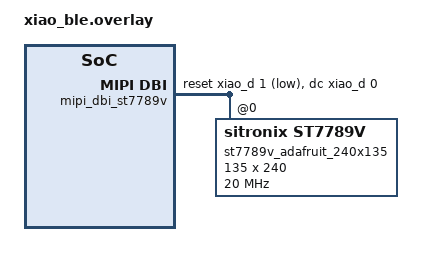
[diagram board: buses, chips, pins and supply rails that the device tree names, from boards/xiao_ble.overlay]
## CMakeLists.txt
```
# SPDX-License-Identifier: Apache-2.0

cmake_minimum_required(VERSION 3.20.0)
find_package(Zephyr REQUIRED HINTS $ENV{ZEPHYR_BASE})
project(display_xiao_st7789v_overlay)

target_sources(app PRIVATE src/main.c)
```

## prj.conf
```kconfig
CONFIG_HEAP_MEM_POOL_SIZE=16384
CONFIG_LOG=y
CONFIG_DISPLAY=y
```

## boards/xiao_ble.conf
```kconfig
# SPDX-License-Identifier: Apache-2.0
CONFIG_BOOT_DELAY=1000
```

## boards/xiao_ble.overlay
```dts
/*
 * SPDX-License-Identifier: Apache-2.0
 */

#include <zephyr/dt-bindings/mipi_dbi/mipi_dbi.h>

/ {    
	chosen {
        zephyr,display = &st7789v_adafruit_240x135;
    };

    mipi_dbi_st7789v {
        compatible = "zephyr,mipi-dbi-spi";
        spi-dev = <&xiao_spi>;
        dc-gpios = <&xiao_d 0 GPIO_ACTIVE_HIGH>;	/* D 0 */
		reset-gpios = <&xiao_d 1 GPIO_ACTIVE_LOW>;	/* D 1 */
		write-only;
		#address-cells = <1>;
		#size-cells = <0>;
 
        st7789v_adafruit_240x135: st7789v@0 {
            compatible = "sitronix,st7789v";
            mipi-max-frequency = <20000000>;
			reg = <0>;
			//inversion-off; //inversion of color
            width = <135>;
			height = <240>;
			x-offset = <52>;
			y-offset = <40>;
            vcom = <0x20>;
			gctrl = <0x35>;
			vrhs = <0x0B>;
			vdvs = <0x20>;
			mdac = <0x00>;
			gamma = <0x00>;
			colmod = <0x55>;
			lcm = <0x2c>;
			porch-param = [0c 0c 00 33 33];
			cmd2en-param = [5A 69 02 00];
			pwctrl1-param = [A4 A1];
			pvgam-param = [D0 00 02 07 0B 1A 31 54 40 29 12 12 12 17];
			nvgam-param = [D0 00 02 07 05 15 2D 44 44 1C 18 16 1C 1D];
			ram-param = [2c 2e];
			rgb-param = [CD 08 14];
			mipi-mode = "MIPI_DBI_MODE_SPI_4WIRE";
        };

    };

};

&xiao_spi {
    cs-gpios = <&xiao_d 2 GPIO_ACTIVE_LOW>; /* D 2 */
};
```

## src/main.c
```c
/*
 * Based on ST7789V sample:
 * Copyright (c) 2019 Marc Reilly
 *
 * SPDX-License-Identifier: Apache-2.0
 */

#include <zephyr/logging/log.h>
LOG_MODULE_REGISTER(sample, LOG_LEVEL_INF);

#include <zephyr/kernel.h>
#include <zephyr/device.h>
#include <zephyr/drivers/display.h>

enum corner {
	TOP_LEFT,
	TOP_RIGHT,
	BOTTOM_RIGHT,
	BOTTOM_LEFT
};

typedef void (*fill_buffer)(enum corner corner, uint8_t grey, uint8_t *buf,
			    size_t buf_size);

static uint16_t get_rgb565_color(enum corner corner, uint8_t grey)
{
	uint16_t color = 0;
	uint16_t grey_5bit;

	switch (corner) {
	case TOP_LEFT:
		color = 0xF800u;
		break;
	case TOP_RIGHT:
		color = 0x07E0u;
		break;
	case BOTTOM_RIGHT:
		color = 0x001Fu;
		break;
	case BOTTOM_LEFT:
		grey_5bit = grey & 0x1Fu;
		/* shift the green an extra bit, it has 6 bits */
		color = grey_5bit << 11 | grey_5bit << (5 + 1) | grey_5bit;
		break;
	}
	return color;
}
static void fill_buffer_rgb565(enum corner corner, uint8_t grey, uint8_t *buf,
			       size_t buf_size)
{
	uint16_t color = get_rgb565_color(corner, grey);

	for (size_t idx = 0; idx < buf_size; idx += 2) {
		*(uint16_t *)(buf + idx) = color;
	}
}

int main(void)
{
	//k_sleep(K_SECONDS(5));
	size_t x;
	size_t y;
	size_t rect_w;
	size_t rect_h;
	size_t h_step;
	size_t scale;
	size_t grey_count;
	uint8_t bg_color;
	uint8_t *buf;
	int32_t grey_scale_sleep;
	const struct device *display_dev;
	struct display_capabilities capabilities;
	struct display_buffer_descriptor buf_desc;
	size_t buf_size = 0;
	fill_buffer fill_buffer_fnc = NULL;

	display_dev = DEVICE_DT_GET(DT_CHOSEN(zephyr_display));
	if (!device_is_ready(display_dev)) {
		LOG_ERR("Device %s not found. Aborting sample.",
			display_dev->name);
		return 0;
	}

	LOG_INF("Display sample for %s", display_dev->name);
	display_get_capabilities(display_dev, &capabilities);
	LOG_INF("Capabilities:\n\tx: %d\ny: %d\npixel: %d", capabilities.x_resolution, capabilities.y_resolution, capabilities.current_pixel_format);
	if (capabilities.screen_info & SCREEN_INFO_MONO_VTILED) {
		rect_w = 16;
		rect_h = 8;
		LOG_ERR("16/8");
	} else {
		rect_w = 2;
		rect_h = 1;
		LOG_ERR("2/1");
	}

	if ((capabilities.x_resolution < 3 * rect_w) ||
	    (capabilities.y_resolution < 3 * rect_h) ||
	    (capabilities.x_resolution < 8 * rect_h)) {
		rect_w = capabilities.x_resolution * 40 / 100;
		rect_h = capabilities.y_resolution * 40 / 100;
		h_step = capabilities.y_resolution * 20 / 100;
		scale = 1;
		LOG_ERR("SCALE: %d", scale);
	} else {
		h_step = rect_h;
		scale = (capabilities.x_resolution / 8) / rect_h;
		LOG_ERR("SCALE: %d", scale);
	}

	rect_w *= scale;
	rect_h *= scale;

	if (capabilities.screen_info & SCREEN_INFO_EPD) {
		grey_scale_sleep = 10000;
	} else {
		grey_scale_sleep = 100;
	}

	if (capabilities.screen_info & SCREEN_INFO_X_ALIGNMENT_WIDTH) {
		rect_w = capabilities.x_resolution;
	}

	buf_size = rect_w * rect_h;

	if (buf_size < (capabilities.x_resolution * h_step)) {
		buf_size = capabilities.x_resolution * h_step;
	}

	bg_color = 0xFFu;
	fill_buffer_fnc = fill_buffer_rgb565;
	buf_size *= 2;
		

	buf = k_malloc(buf_size);

	if (buf == NULL) {
		LOG_ERR("Could not allocate memory. Aborting sample.");
#ifdef CONFIG_ARCH_POSIX
		posix_exit_main(1);
#else
		return 0;
#endif
	}

	(void)memset(buf, bg_color, buf_size);

	buf_desc.buf_size = buf_size;
	buf_desc.pitch = capabilities.x_resolution;
	buf_desc.width = capabilities.x_resolution;
	buf_desc.height = h_step;

	/*
	 * The following writes will only render parts of the image,
	 * so turn this option on.
	 * This allows double-buffered displays to hold the pixels
	 * back until the image is complete.
	 */
	buf_desc.frame_incomplete = true;

	for (int idx = 0; idx < capabilities.y_resolution; idx += h_step) {
		/*
		 * Tweaking the height value not to draw outside of the display.
		 * It is required when using a monochrome display whose vertical
		 * resolution can not be divided by 8.
		 */
		if ((capabilities.y_resolution - idx) < h_step) {
			buf_desc.height = (capabilities.y_resolution - idx);
		}
		display_write(display_dev, 0, idx, &buf_desc, buf);
	}

	buf_desc.pitch = rect_w;
	buf_desc.width = rect_w;
	buf_desc.height = rect_h;

	fill_buffer_fnc(TOP_LEFT, 0, buf, buf_size);
	x = 0;
	y = 0;
	display_write(display_dev, x, y, &buf_desc, buf);

	fill_buffer_fnc(TOP_RIGHT, 0, buf, buf_size);
	x = capabilities.x_resolution - rect_w;
	y = 0;
	display_write(display_dev, x, y, &buf_desc, buf);

	/*
	 * This is the last write of the frame, so turn this off.
	 * Double-buffered displays will now present the new image
	 * to the user.
	 */
	buf_desc.frame_incomplete = false;

	fill_buffer_fnc(BOTTOM_RIGHT, 0, buf, buf_size);
	x = capabilities.x_resolution - rect_w;
	y = capabilities.y_resolution - rect_h;
	display_write(display_dev, x, y, &buf_desc, buf);

	display_blanking_off(display_dev);

	grey_count = 0;
	x = 0;
	y = capabilities.y_resolution - rect_h;

	LOG_INF("Display starts");
	while (1) { 
		//LOG_INF("Not dead");
		
		fill_buffer_fnc(BOTTOM_LEFT, grey_count, buf, buf_size);
		display_write(display_dev, x, y, &buf_desc, buf);
		++grey_count;
		k_msleep(grey_scale_sleep);
	}
	return 0;
}
```
